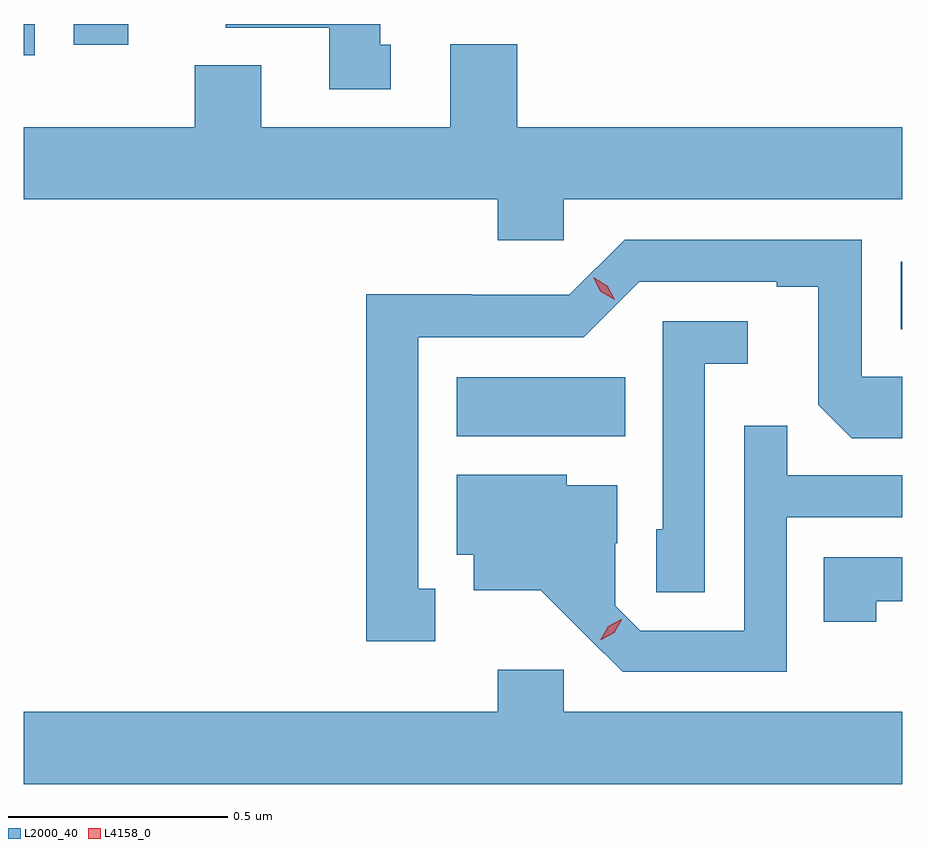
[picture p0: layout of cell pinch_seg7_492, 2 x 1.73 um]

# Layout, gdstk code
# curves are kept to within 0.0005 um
import gdstk
lib = gdstk.Library(unit=1e-6, precision=1e-09)
def R(c, l, rs):  # rectangles x0, y0, x1, y1
    for r in rs: c.add(gdstk.rectangle(r[:2], r[2:], *l))
def P(c, l, *ps):  # polygons
    for p in ps: c.add(gdstk.Polygon(p, *l))
L2000_40 = (2000, 40)
L4158_0 = (4158, 0)

pinch_seg7_492 = lib.new_cell('pinch_seg7_492')
R(pinch_seg7_492, L2000_40, [(234.164,1074.668,234.548,1074.802), (235.175,1074.912,235.178,1075.066), (233.178,1075.536,233.203,1075.607), (233.291,1075.56,233.416,1075.607)])
P(pinch_seg7_492, L2000_40, [(234.013,1075.56),(233.989,1075.56),(233.989,1075.607),(233.638,1075.607),(233.638,1075.598),(233.873,1075.598),(233.873,1075.458),(234.013,1075.458)],
  [(234.408,1075.208),(235.178,1075.208),(235.178,1075.372),(234.302,1075.372),(234.302,1075.561),(234.149,1075.561),(234.149,1075.372),(233.719,1075.372),(233.719,1075.513),(233.567,1075.513),(233.567,1075.372),(233.178,1075.372),(233.178,1075.208),(234.257,1075.208),(234.257,1075.115),(234.408,1075.115)],
  [(234.115,1074.321),(234.076,1074.321),(234.076,1074.894),(234.453,1074.894),(234.579,1075.02),(234.893,1075.02),(234.893,1075.008),(234.987,1075.008),(234.987,1074.74),(235.063,1074.664),(235.178,1074.664),(235.178,1074.804),(235.086,1074.804),(235.086,1075.116),(234.546,1075.116),(234.42,1074.99),(234.198,1074.99),(234.198,1074.992),(233.958,1074.992),(233.958,1074.201),(234.115,1074.201)],
  [(234.729,1074.833),(234.826,1074.833),(234.826,1074.93),(234.633,1074.93),(234.633,1074.456),(234.618,1074.456),(234.618,1074.313),(234.729,1074.313)],
  [(234.915,1074.483),(235.178,1074.483),(235.178,1074.579),(234.917,1074.579),(234.917,1074.692),(234.819,1074.692),(234.819,1074.225),(234.582,1074.225),(234.525,1074.282),(234.525,1074.424),(234.529,1074.424),(234.529,1074.556),(234.414,1074.556),(234.414,1074.58),(234.164,1074.58),(234.164,1074.398),(234.203,1074.398),(234.203,1074.317),(234.355,1074.317),(234.542,1074.132),(234.915,1074.132)],
  [(235.119,1074.292),(235.178,1074.292),(235.178,1074.393),(235,1074.393),(235,1074.246),(235.119,1074.246)],
  [(235.178,1074.04),(234.408,1074.04),(234.408,1074.136),(234.257,1074.136),(234.257,1074.04),(233.178,1074.04),(233.178,1073.876),(235.178,1073.876)])
P(pinch_seg7_492, L4158_0, [(234.492,1074.205),(234.492,1074.206),(234.509,1074.235),(234.539,1074.251),(234.54,1074.251),(234.54,1074.25),(234.523,1074.221),(234.493,1074.205)],
  [(234.524,1074.979),(234.492,1074.997),(234.475,1075.03),(234.475,1075.03),(234.475,1075.03),(234.507,1075.011),(234.524,1074.979),(234.524,1074.979)])

lib.write_gds('pinch_seg7_492.gds')
